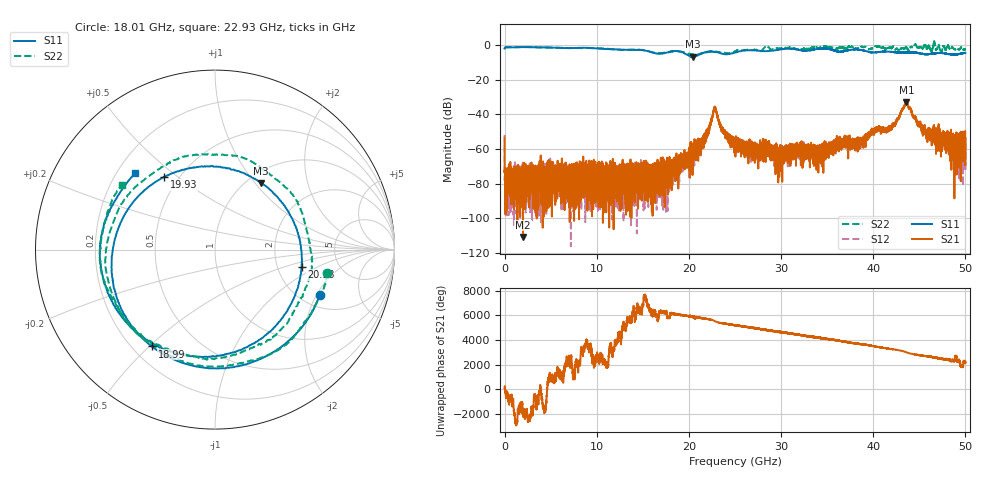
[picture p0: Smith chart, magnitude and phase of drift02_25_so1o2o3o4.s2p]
!Created with skrf (http://scikit-rf.org).
# Hz S RI R 50.0
!freq ReS11 ImS11 ReS21 ImS21 ReS12 ImS12 ReS22 ImS22
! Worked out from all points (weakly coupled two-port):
!   10001 points, 300 kHz to 50 GHz, reference 50 ohm
!   highest |S21| = -32.87 dB at 43.61 GHz (marker M1); lowest = -110.6 dB at 2 GHz (marker M2)
!   lowest |S11| = -6.9 dB at 20.43 GHz (marker M3), VSWR 2.64, Z = 57.7 + j53.7 ohm
!   |S11| at or under -10 dB: nowhere
!   |S22| runs from -5.7 to 2.5 dB; largest |S21 - S12| = 0.0035
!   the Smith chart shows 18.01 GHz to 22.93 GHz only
!   S11 on the Smith chart (normalised r, x): 18.01 GHz: 2.51, -2.12; 18.99 GHz: 0.28, -0.51; 19.93 GHz: 0.42, +0.45; 20.93 GHz: 2.74, -0.69; 22.93 GHz: 0.27, +0.37
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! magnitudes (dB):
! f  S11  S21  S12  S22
! 300 kHz  -2.1  -53.4  -51.8  -2.1
! 260.3 MHz  -1.4  -77.1  -83.9  -1.4
! 2 GHz  -1.3  -110.6  -86.2  -1.3
! 8.335 GHz  -1.7  -73.5  -80.3  -1.9
! 16.67 GHz  -5.2  -72.7  -82.2  -4.7
! 18.01 GHz  -4.0  -74.4  -69.6  -3.9
! 18.99 GHz  -3.8  -66.5  -69.9  -3.9
! 19.93 GHz  -6.1  -63.3  -63.8  -5.2
! 20.43 GHz  -6.9  -59.7  -57.3  -5.4
! 20.93 GHz  -6.2  -59.4  -58.4  -5.6
! 22.93 GHz  -4.2  -37.1  -37.1  -4.0
! 23.83 GHz  -5.4  -50.4  -49.9  -4.6
! 25 GHz  -4.5  -62.5  -58.4  -3.9
! 29.78 GHz  -2.8  -63.8  -62.6  -2.1
! 33.34 GHz  -3.0  -60.9  -60.9  -1.6
! 38.22 GHz  -2.8  -54.8  -58.6  -2.2
! 40.22 GHz  -4.4  -49.2  -49.6  -0.7
! 41.67 GHz  -4.0  -48.4  -48.6  -1.9
! 43.61 GHz  -4.4  -32.9  -33.3  -1.5
! 45.63 GHz  -5.4  -48.1  -48.9  0.0
! 48.73 GHz  -5.6  -52.3  -56.5  -2.3
! 50 GHz  -4.7  -53.8  -56.3  -2.7
